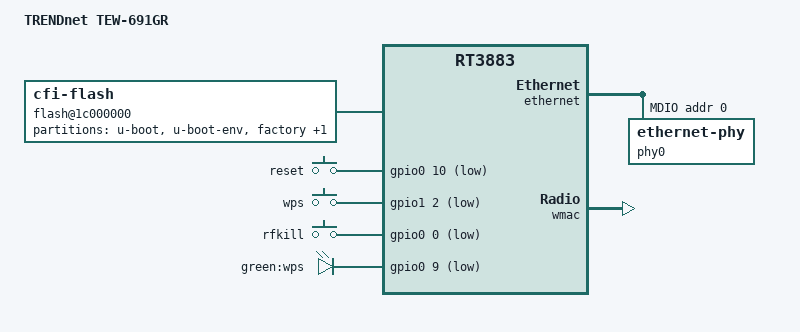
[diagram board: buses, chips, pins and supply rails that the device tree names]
#include "rt3883.dtsi"

#include <dt-bindings/gpio/gpio.h>
#include <dt-bindings/input/input.h>

/ {
	compatible = "trendnet,tew-691gr", "ralink,rt3883-soc";
	model = "TRENDnet TEW-691GR";

	aliases {
		led-boot = &led_wps;
		led-failsafe = &led_wps;
		led-running = &led_wps;
		led-upgrade = &led_wps;
	};

	flash@1c000000 {
		compatible = "cfi-flash";
		reg = <0x1c000000 0x800000>;
		bank-width = <2>;

		partitions {
			compatible = "fixed-partitions";
			#address-cells = <1>;
			#size-cells = <1>;

			partition@0 {
				reg = <0x0 0x0030000>;
				label = "u-boot";
				read-only;
			};

			partition@30000 {
				reg = <0x00030000 0x00010000>;
				label = "u-boot-env";
				read-only;
			};

			factory: partition@40000 {
				reg = <0x00040000 0x00010000>;
				label = "factory";
				read-only;
			};

			partition@50000 {
				compatible = "denx,uimage";
				reg = <0x00050000 0x007b0000>;
				label = "firmware";
			};
		};
	};

	keys {
		compatible = "gpio-keys-polled";
		poll-interval = <100>;

		reset {
			label = "reset";
			gpios = <&gpio0 10 GPIO_ACTIVE_LOW>;
			linux,code = <KEY_RESTART>;
		};

		wps {
			label = "wps";
			gpios = <&gpio1 2 GPIO_ACTIVE_LOW>;
			linux,code = <KEY_WPS_BUTTON>;
		};

		rfkill {
			label = "rfkill";
			gpios = <&gpio0 0 GPIO_ACTIVE_LOW>;
			linux,code = <KEY_RFKILL>;
		};
	};

	leds {
		compatible = "gpio-leds";

		led_wps: wps {
			label = "green:wps";
			gpios = <&gpio0 9 GPIO_ACTIVE_LOW>;
		};
	};
};

&gpio1 {
	status = "okay";
};

&state_default {
	gpio {
		groups = "spi", "i2c", "jtag", "uartf";
		function = "gpio";
	};
};

&ethernet {
	mtd-mac-address = <&factory 0x4>;

	port@0 {
		phy-handle = <&phy0>;
		phy-mode = "rgmii";
	};

	mdio-bus {
		status = "okay";

		phy0: ethernet-phy@0 {
			reg = <0>;
			phy-mode = "rgmii";
		};
	};
};

&wmac {
	status = "okay";
	ralink,mtd-eeprom = <&factory 0x0>;
	ralink,5ghz = <0>;
	mtd-mac-address = <&factory 0x4>;
	mtd-mac-address-increment = <1>;
};
